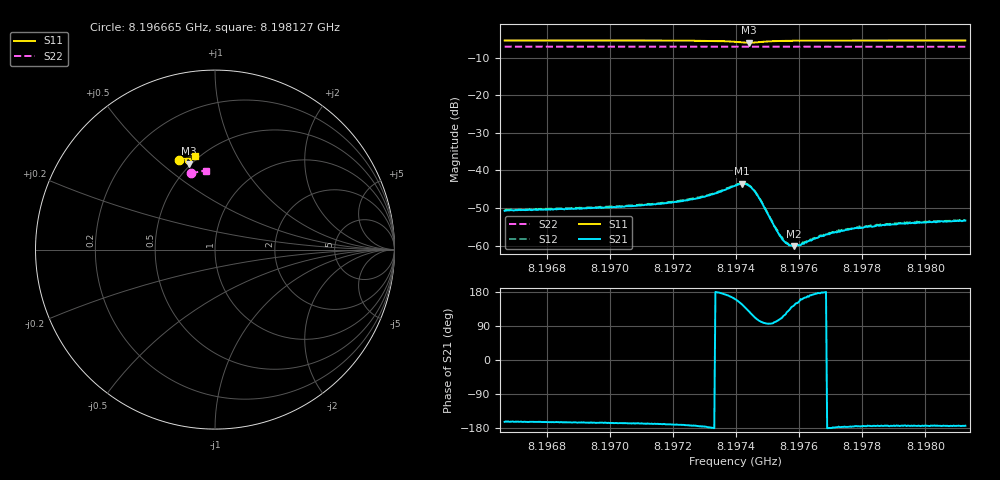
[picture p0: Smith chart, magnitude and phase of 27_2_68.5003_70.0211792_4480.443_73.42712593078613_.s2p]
#  HZ  S  RI  R  50.00
! Rohde & Schwarz Vector Network Analyzer
! Rohde-Schwarz,ZNB20-2Port,1311601062101988,3.16
! Created: UTC 3/20/2024, 4:49:46 PM
! freq[Hz]  re:S11  im:S11  re:S21  im:S21  re:S12  im:S12  re:S22  im:S22
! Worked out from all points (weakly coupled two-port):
!   401 points, 8.196665 GHz to 8.198127 GHz, reference 50 ohm
!   highest |S21| = -43.53 dB at 8.197418 GHz (marker M1); lowest = -60.1 dB at 8.197583 GHz (marker M2)
!   lowest |S11| = -6.0 dB at 8.19744 GHz (marker M3), VSWR 3.00, Z = 24.4 + j31.2 ohm
!   |S11| at or under -10 dB: nowhere
!   |S22| runs from -7.1 to -7.0 dB; largest |S21 - S12| = 0.00035
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8.1966652e9  -0.2029 0.4967  -0.00278 -0.000847  -0.00291 -0.000769  -0.133 0.4242
8.1969101e9  -0.1855 0.503  -0.00298 -0.000819  -0.00311 -0.000706  -0.1198 0.4276
8.1971549e9  -0.166 0.5085  -0.00353 -0.000685  -0.00361 -0.000538  -0.1062 0.4308
8.1972244e9  -0.1595 0.5097  -0.00386 -0.000612  -0.00396 -0.000429  -0.1025 0.4317
8.1972975e9  -0.1506 0.5097  -0.00444 -0.000336  -0.00455 -0.000145  -0.0983 0.4324
8.197345e9  -0.1432 0.5076  -0.00516 0.000174  -0.00523 0.000404  -0.0956 0.4328
8.1973961e9  -0.1343 0.4974  -0.00592 0.00209  -0.00596 0.00237  -0.0925 0.4331
8.1974181e9  -0.1348 0.4879  -0.00559 0.00363  -0.00547 0.00394  -0.0917 0.4331
8.19744e9  -0.1432 0.4796  -0.00388 0.00493  -0.00373 0.00518  -0.0906 0.4331
8.1974546e9  -0.1517 0.4794  -0.00242 0.005  -0.00219 0.00515  -0.09 0.4333
8.1974692e9  -0.1584 0.4832  -0.00122 0.00437  -0.00106 0.00448  -0.0893 0.4334
8.1975204e9  -0.1615 0.5001  -0.000303 0.00181  -0.00021 0.00182  -0.0866 0.4344
8.1975423e9  -0.1591 0.5043  -0.000439 0.00123  -0.000421 0.00124  -0.0854 0.4347
8.1975533e9  -0.1577 0.5059  -0.000537 0.000995  -0.000547 0.00103  -0.0847 0.4349
8.1975643e9  -0.1564 0.5073  -0.000655 0.000819  -0.000649 0.000852  -0.0841 0.435
8.1975825e9  -0.1543 0.5091  -0.000786 0.000591  -0.000786 0.000639  -0.0831 0.4353
8.1976081e9  -0.1515 0.5111  -0.000993 0.000367  -0.000992 0.00039  -0.0818 0.4353
8.197641e9  -0.148 0.513  -0.00118 0.000162  -0.00119 0.000213  -0.0798 0.4357
8.1977104e9  -0.1414 0.5158  -0.00149 -3.44e-05  -0.00151 2.69e-05  -0.0759 0.4364
8.1977762e9  -0.1359 0.5175  -0.00171 -0.000159  -0.00171 -8.91e-05  -0.0722 0.4369
8.1978859e9  -0.127 0.52  -0.00188 -0.000173  -0.00194 -0.000137  -0.066 0.4375
8.1981271e9  -0.109 0.5241  -0.00214 -0.000248  -0.00216 -0.000128  -0.0524 0.439
